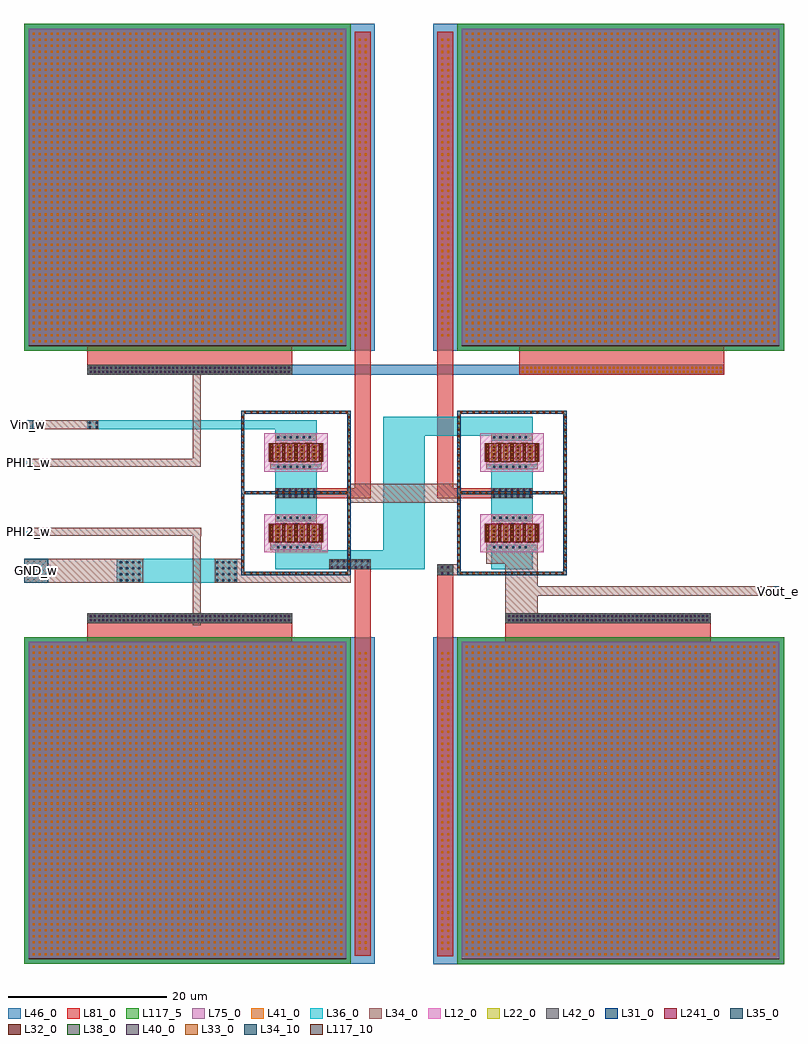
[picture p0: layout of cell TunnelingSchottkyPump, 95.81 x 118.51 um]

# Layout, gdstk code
import gdstk
lib = gdstk.Library(unit=1e-6, precision=1e-09)
def R(c, l, rs):  # rectangles x0, y0, x1, y1
    for r in rs: c.add(gdstk.rectangle(r[:2], r[2:], *l))
def A(c, l, x, y, w, h, nx, ny, dx, dy):  # array of equal rectangles
    R(c, l, [(x+i*dx, y+j*dy, x+i*dx+w, y+j*dy+h) for i in range(nx) for j in range(ny)])
def P(c, l, *ps):  # polygons
    for p in ps: c.add(gdstk.Polygon(p, *l))
L12_0 = (12, 0)
L22_0 = (22, 0)
L31_0 = (31, 0)
L32_0 = (32, 0)
L33_0 = (33, 0)
L34_0 = (34, 0)
L34_10 = (34, 10)
L35_0 = (35, 0)
L36_0 = (36, 0)
L38_0 = (38, 0)
L40_0 = (40, 0)
L41_0 = (41, 0)
L42_0 = (42, 0)
L46_0 = (46, 0)
L75_0 = (75, 0)
L81_0 = (81, 0)
L117_5 = (117, 5)
L117_10 = (117, 10)
L241_0 = (241, 0)

sc_diode = lib.new_cell('sc_diode')
R(sc_diode, L12_0, [(-0.76,-1.4,7.28,3.4)])
A(sc_diode, L22_0, 0, 0, 0.36, 2, 5, 1, 1.54, 0)
A(sc_diode, L22_0, 0.64, 0, 0.62, 2, 4, 1, 1.54, 0)
P(sc_diode, L22_0, [(-3.62,-4.26),(-3.62,5.9),(-3.26,5.9),(-3.26,-3.9),(9.78,-3.9),(9.78,5.9),(-3.62,5.9),(-3.62,6.26),(10.14,6.26),(10.14,-4.26)])
P(sc_diode, L31_0, [(-3.65,-4.29),(-3.65,5.87),(-3.23,5.87),(-3.23,-3.87),(9.75,-3.87),(9.75,5.87),(-3.65,5.87),(-3.65,6.29),(10.17,6.29),(10.17,-4.29)])
A(sc_diode, L32_0, -0.03, -0.03, 0.42, 2.06, 5, 1, 1.54, 0)
A(sc_diode, L33_0, 0.07, 0.185, 0.22, 0.22, 9, 4, 0.77, 0.47)
A(sc_diode, L34_0, 0, -0.23, 0.36, 2.23, 5, 1, 1.54, 0)
A(sc_diode, L34_0, 0.64, 0, 0.62, 2.23, 4, 1, 1.54, 0)
R(sc_diode, L34_0, [(0,-0.46,6.52,-0.23), (0.64,2.23,5.88,2.46)])
R(sc_diode, L241_0, [(-0.16,-0.16,6.68,2.16)])

cap_mim = lib.new_cell('cap_mim')
A(cap_mim, L41_0, 0.49, 0.49, 0.26, 0.26, 52, 52, 0.76, 0.76)
R(cap_mim, L46_0, [(-0.6,-0.6,40.6,40.6)])
R(cap_mim, L75_0, [(0,0,40,40)])
R(cap_mim, L81_0, [(0,0,40,40)])
R(cap_mim, L117_5, [(-0.6,-0.6,40.6,40.6)])
R(cap_mim, L117_10, [(0,0,40,0.1)])

tunnelingschottkypump = lib.new_cell('TunnelingSchottkyPump')
A(tunnelingschottkypump, L33_0, 27.76, 49.12, 0.22, 0.22, 17, 2, 0.8, 20.32)
A(tunnelingschottkypump, L33_0, 54.99, 49.12, 0.22, 0.22, 17, 2, 0.8, 20.32)
A(tunnelingschottkypump, L33_0, 27.47, 49.85, 0.22, 0.22, 1, 12, 0, 0.8)
A(tunnelingschottkypump, L33_0, 40.87, 49.85, 0.22, 0.22, 1, 12, 0, 0.8)
A(tunnelingschottkypump, L33_0, 54.7, 49.85, 0.22, 0.22, 1, 12, 0, 0.8)
A(tunnelingschottkypump, L33_0, 68.1, 49.85, 0.22, 0.22, 1, 12, 0, 0.8)
A(tunnelingschottkypump, L33_0, 27.47, 60.01, 0.22, 0.22, 1, 12, 0, 0.8)
A(tunnelingschottkypump, L33_0, 40.87, 60.01, 0.22, 0.22, 1, 12, 0, 0.8)
A(tunnelingschottkypump, L33_0, 54.7, 60.01, 0.22, 0.22, 1, 12, 0, 0.8)
A(tunnelingschottkypump, L33_0, 68.1, 60.01, 0.22, 0.22, 1, 12, 0, 0.8)
R(tunnelingschottkypump, L33_0, [(27.76,59.28,27.98,59.5), (27.76,59.28,27.98,59.5), (28.56,59.28,28.78,59.5), (28.56,59.28,28.78,59.5), (29.36,59.28,29.58,59.5), (29.36,59.28,29.58,59.5), (30.16,59.28,30.38,59.5), (30.16,59.28,30.38,59.5), (30.96,59.28,31.18,59.5), (30.96,59.28,31.18,59.5), (31.76,59.28,31.98,59.5), (31.76,59.28,31.98,59.5), (32.56,59.28,32.78,59.5), (32.56,59.28,32.78,59.5), (33.36,59.28,33.58,59.5), (33.36,59.28,33.58,59.5), (34.16,59.28,34.38,59.5), (34.16,59.28,34.38,59.5), (34.96,59.28,35.18,59.5), (34.96,59.28,35.18,59.5), (35.76,59.28,35.98,59.5), (35.76,59.28,35.98,59.5), (36.56,59.28,36.78,59.5), (36.56,59.28,36.78,59.5), (37.36,59.28,37.58,59.5), (37.36,59.28,37.58,59.5), (38.16,59.28,38.38,59.5), (38.16,59.28,38.38,59.5), (38.96,59.28,39.18,59.5), (38.96,59.28,39.18,59.5), (39.76,59.28,39.98,59.5), (39.76,59.28,39.98,59.5), (40.56,59.28,40.78,59.5), (40.56,59.28,40.78,59.5), (54.99,59.28,55.21,59.5), (54.99,59.28,55.21,59.5), (55.79,59.28,56.01,59.5), (55.79,59.28,56.01,59.5), (56.59,59.28,56.81,59.5), (56.59,59.28,56.81,59.5), (57.39,59.28,57.61,59.5), (57.39,59.28,57.61,59.5), (58.19,59.28,58.41,59.5), (58.19,59.28,58.41,59.5), (58.99,59.28,59.21,59.5), (58.99,59.28,59.21,59.5), (59.79,59.28,60.01,59.5), (59.79,59.28,60.01,59.5), (60.59,59.28,60.81,59.5), (60.59,59.28,60.81,59.5), (61.39,59.28,61.61,59.5), (61.39,59.28,61.61,59.5), (62.19,59.28,62.41,59.5), (62.19,59.28,62.41,59.5), (62.99,59.28,63.21,59.5), (62.99,59.28,63.21,59.5), (63.79,59.28,64.01,59.5), (63.79,59.28,64.01,59.5), (64.59,59.28,64.81,59.5), (64.59,59.28,64.81,59.5), (65.39,59.28,65.61,59.5), (65.39,59.28,65.61,59.5), (66.19,59.28,66.41,59.5), (66.19,59.28,66.41,59.5), (66.99,59.28,67.21,59.5), (66.99,59.28,67.21,59.5), (67.79,59.28,68.01,59.5), (67.79,59.28,68.01,59.5)])
A(tunnelingschottkypump, L34_0, 60.675, 42.945, 2.47, 1.245, 16, 1, 1.56, 0)
A(tunnelingschottkypump, L34_0, 7.945, 42.965, 2.47, 1.245, 16, 2, 1.56, 31.315)
R(tunnelingschottkypump, L34_0, [(21.26,42.72,22.265,55), (60.675,44.18,64.765,50.43), (64.765,46.42,65.035,47.58), (65.035,46.42,86.405,47.58), (86.405,46.42,95.795,47.58), (0,48.02,15,51.07), (24.01,48.02,27.375,51.07), (27.375,48.02,41.195,48.99), (27.375,48.02,41.195,48.99), (27.375,48.99,41.195,49.41), (27.375,48.99,41.195,49.02), (52.095,48.99,54.595,50.38), (52.095,48.99,55.015,50.38), (54.605,48.99,68.42,49.02), (27.37,49.02,27.79,59.18), (27.37,49.02,41.19,49.44), (40.77,49.02,41.19,59.6), (54.6,49.02,55.02,59.18), (54.6,49.02,68.42,49.44), (68,49.02,68.42,59.6), (27.375,49.41,27.38,51.07), (58.245,50.43,64.765,52.82), (31.02,52.17,37.54,52.85), (58.25,52.17,64.77,52.85), (19.435,54,22.365,55), (31.66,55.77,36.905,56.71), (31.66,55.77,36.905,56.71), (31.66,55.77,36.905,56.71), (31.66,55.77,36.905,56.71), (58.885,55.77,64.13,56.71), (58.885,55.77,64.13,56.71), (58.89,55.77,64.135,56.71), (58.89,55.77,64.135,56.71), (58.89,55.77,64.135,56.71), (58.89,55.77,64.135,56.71), (41.095,58.15,54.695,60.545), (41.095,58.15,54.695,60.545), (27.37,59.18,27.79,69.34), (27.37,59.18,41.19,59.6), (27.37,59.18,41.19,59.6), (40.77,59.18,41.19,69.76), (54.6,59.18,55.02,69.34), (54.6,59.18,68.42,59.6), (54.6,59.18,68.42,59.6), (68,59.18,68.42,69.76), (31.02,62.33,37.54,63.01), (58.25,62.33,64.77,63.01), (19.335,62.7,22.265,63.7), (19.335,63.01,22.265,63.345), (21.26,63.01,22.265,75.29), (31.66,65.93,36.905,66.87), (31.66,65.93,36.905,66.87), (58.885,65.93,64.13,66.87), (58.89,65.93,64.135,66.87), (58.89,65.93,64.135,66.87), (-0.005,67.37,9.385,68.53), (-0.005,67.37,9.385,68.53), (27.37,69.34,41.19,69.76), (54.6,69.34,68.42,69.76)])
R(tunnelingschottkypump, L34_10, [(94.505,46.42,95.795,47.58), (0,48.02,3.04,51.07), (0,54,1.015,55), (0,62.7,1.015,63.7), (-0.005,67.37,1.175,68.53), (-0.005,67.37,1.175,68.53), (-0.005,67.37,1.175,68.53)])
A(tunnelingschottkypump, L35_0, 61.02, 43.165, 0.26, 0.26, 4, 2, 0.52, 0.52)
A(tunnelingschottkypump, L35_0, 62.58, 43.165, 0.26, 0.26, 4, 2, 0.52, 0.52)
A(tunnelingschottkypump, L35_0, 64.14, 43.165, 0.26, 0.26, 4, 2, 0.52, 0.52)
A(tunnelingschottkypump, L35_0, 65.7, 43.165, 0.26, 0.26, 4, 2, 0.52, 0.52)
A(tunnelingschottkypump, L35_0, 67.26, 43.165, 0.26, 0.26, 4, 2, 0.52, 0.52)
A(tunnelingschottkypump, L35_0, 68.82, 43.165, 0.26, 0.26, 4, 2, 0.52, 0.52)
A(tunnelingschottkypump, L35_0, 70.38, 43.165, 0.26, 0.26, 4, 2, 0.52, 0.52)
A(tunnelingschottkypump, L35_0, 71.94, 43.165, 0.26, 0.26, 4, 2, 0.52, 0.52)
A(tunnelingschottkypump, L35_0, 73.5, 43.165, 0.26, 0.26, 4, 2, 0.52, 0.52)
A(tunnelingschottkypump, L35_0, 75.06, 43.165, 0.26, 0.26, 4, 2, 0.52, 0.52)
A(tunnelingschottkypump, L35_0, 76.62, 43.165, 0.26, 0.26, 4, 2, 0.52, 0.52)
A(tunnelingschottkypump, L35_0, 78.18, 43.165, 0.26, 0.26, 4, 2, 0.52, 0.52)
A(tunnelingschottkypump, L35_0, 79.74, 43.165, 0.26, 0.26, 4, 2, 0.52, 0.52)
A(tunnelingschottkypump, L35_0, 81.3, 43.165, 0.26, 0.26, 4, 2, 0.52, 0.52)
A(tunnelingschottkypump, L35_0, 82.86, 43.165, 0.26, 0.26, 4, 2, 0.52, 0.52)
A(tunnelingschottkypump, L35_0, 84.42, 43.165, 0.26, 0.26, 4, 2, 0.52, 0.52)
A(tunnelingschottkypump, L35_0, 8.29, 43.185, 0.26, 0.26, 4, 2, 0.52, 0.52)
A(tunnelingschottkypump, L35_0, 9.85, 43.185, 0.26, 0.26, 4, 2, 0.52, 0.52)
A(tunnelingschottkypump, L35_0, 11.41, 43.185, 0.26, 0.26, 4, 2, 0.52, 0.52)
A(tunnelingschottkypump, L35_0, 12.97, 43.185, 0.26, 0.26, 4, 2, 0.52, 0.52)
A(tunnelingschottkypump, L35_0, 14.53, 43.185, 0.26, 0.26, 4, 2, 0.52, 0.52)
A(tunnelingschottkypump, L35_0, 16.09, 43.185, 0.26, 0.26, 4, 2, 0.52, 0.52)
A(tunnelingschottkypump, L35_0, 17.65, 43.185, 0.26, 0.26, 4, 2, 0.52, 0.52)
A(tunnelingschottkypump, L35_0, 19.21, 43.185, 0.26, 0.26, 4, 2, 0.52, 0.52)
A(tunnelingschottkypump, L35_0, 20.77, 43.185, 0.26, 0.26, 4, 2, 0.52, 0.52)
A(tunnelingschottkypump, L35_0, 22.33, 43.185, 0.26, 0.26, 4, 2, 0.52, 0.52)
A(tunnelingschottkypump, L35_0, 23.89, 43.185, 0.26, 0.26, 4, 2, 0.52, 0.52)
A(tunnelingschottkypump, L35_0, 25.45, 43.185, 0.26, 0.26, 4, 2, 0.52, 0.52)
A(tunnelingschottkypump, L35_0, 27.01, 43.185, 0.26, 0.26, 4, 2, 0.52, 0.52)
A(tunnelingschottkypump, L35_0, 28.57, 43.185, 0.26, 0.26, 4, 2, 0.52, 0.52)
A(tunnelingschottkypump, L35_0, 30.13, 43.185, 0.26, 0.26, 4, 2, 0.52, 0.52)
A(tunnelingschottkypump, L35_0, 31.69, 43.185, 0.26, 0.26, 4, 2, 0.52, 0.52)
A(tunnelingschottkypump, L35_0, 12.09, 48.22, 0.26, 0.26, 4, 4, 0.76, 0.76)
A(tunnelingschottkypump, L35_0, 24.2, 48.23, 0.26, 0.26, 4, 4, 0.76, 0.76)
A(tunnelingschottkypump, L35_0, 31.905, 52.39, 0.26, 0.26, 6, 2, 0.8, 10.16)
A(tunnelingschottkypump, L35_0, 59.135, 52.39, 0.26, 0.26, 6, 2, 0.8, 10.16)
A(tunnelingschottkypump, L35_0, 59.135, 66.28, 0.26, 0.26, 6, 1, 0.8, 0)
A(tunnelingschottkypump, L35_0, 8.29, 74.525, 0.26, 0.26, 4, 2, 0.52, 0.52)
A(tunnelingschottkypump, L35_0, 9.85, 74.525, 0.26, 0.26, 4, 2, 0.52, 0.52)
A(tunnelingschottkypump, L35_0, 11.41, 74.525, 0.26, 0.26, 4, 2, 0.52, 0.52)
A(tunnelingschottkypump, L35_0, 12.97, 74.525, 0.26, 0.26, 4, 2, 0.52, 0.52)
A(tunnelingschottkypump, L35_0, 14.53, 74.525, 0.26, 0.26, 4, 2, 0.52, 0.52)
A(tunnelingschottkypump, L35_0, 16.09, 74.525, 0.26, 0.26, 4, 2, 0.52, 0.52)
A(tunnelingschottkypump, L35_0, 17.65, 74.525, 0.26, 0.26, 4, 2, 0.52, 0.52)
A(tunnelingschottkypump, L35_0, 19.21, 74.525, 0.26, 0.26, 4, 2, 0.52, 0.52)
A(tunnelingschottkypump, L35_0, 20.77, 74.525, 0.26, 0.26, 4, 2, 0.52, 0.52)
A(tunnelingschottkypump, L35_0, 22.33, 74.525, 0.26, 0.26, 4, 2, 0.52, 0.52)
A(tunnelingschottkypump, L35_0, 23.89, 74.525, 0.26, 0.26, 4, 2, 0.52, 0.52)
A(tunnelingschottkypump, L35_0, 25.45, 74.525, 0.26, 0.26, 4, 2, 0.52, 0.52)
A(tunnelingschottkypump, L35_0, 27.01, 74.525, 0.26, 0.26, 4, 2, 0.52, 0.52)
A(tunnelingschottkypump, L35_0, 28.57, 74.525, 0.26, 0.26, 4, 2, 0.52, 0.52)
A(tunnelingschottkypump, L35_0, 30.13, 74.525, 0.26, 0.26, 4, 2, 0.52, 0.52)
A(tunnelingschottkypump, L35_0, 31.69, 74.525, 0.26, 0.26, 4, 2, 0.52, 0.52)
R(tunnelingschottkypump, L35_0, [(61.02,43.685,61.28,43.945), (62.58,43.685,62.84,43.945), (64.14,43.685,64.4,43.945), (65.7,43.685,65.96,43.945), (67.26,43.685,67.52,43.945), (68.82,43.685,69.08,43.945), (70.38,43.685,70.64,43.945), (71.94,43.685,72.2,43.945), (73.5,43.685,73.76,43.945), (75.06,43.685,75.32,43.945), (76.62,43.685,76.88,43.945), (78.18,43.685,78.44,43.945), (79.74,43.685,80,43.945), (81.3,43.685,81.56,43.945), (82.86,43.685,83.12,43.945), (84.42,43.685,84.68,43.945), (8.29,43.705,8.55,43.965), (9.85,43.705,10.11,43.965), (11.41,43.705,11.67,43.965), (12.97,43.705,13.23,43.965), (14.53,43.705,14.79,43.965), (16.09,43.705,16.35,43.965), (17.65,43.705,17.91,43.965), (19.21,43.705,19.47,43.965), (20.77,43.705,21.03,43.965), (22.33,43.705,22.59,43.965), (23.89,43.705,24.15,43.965), (25.45,43.705,25.71,43.965), (27.01,43.705,27.27,43.965), (28.57,43.705,28.83,43.965), (30.13,43.705,30.39,43.965), (31.69,43.705,31.95,43.965), (52.575,49.13,52.835,49.39), (52.575,49.89,52.835,50.15), (53.335,49.89,53.595,50.15), (31.91,56.12,32.17,56.38), (31.91,56.12,32.17,56.38), (32.71,56.12,32.97,56.38), (32.71,56.12,32.97,56.38), (33.51,56.12,33.77,56.38), (33.51,56.12,33.77,56.38), (34.31,56.12,34.57,56.38), (34.31,56.12,34.57,56.38), (35.11,56.12,35.37,56.38), (35.11,56.12,35.37,56.38), (35.91,56.12,36.17,56.38), (35.91,56.12,36.17,56.38), (59.135,56.12,59.395,56.38), (59.135,56.12,59.395,56.38), (59.935,56.12,60.195,56.38), (59.935,56.12,60.195,56.38), (60.735,56.12,60.995,56.38), (60.735,56.12,60.995,56.38), (61.535,56.12,61.795,56.38), (61.535,56.12,61.795,56.38), (62.335,56.12,62.595,56.38), (62.335,56.12,62.595,56.38), (63.135,56.12,63.395,56.38), (63.135,56.12,63.395,56.38), (31.91,66.28,32.17,66.54), (31.91,66.28,32.17,66.54), (32.71,66.28,32.97,66.54), (32.71,66.28,32.97,66.54), (33.51,66.28,33.77,66.54), (33.51,66.28,33.77,66.54), (34.31,66.28,34.57,66.54), (34.31,66.28,34.57,66.54), (35.11,66.28,35.37,66.54), (35.11,66.28,35.37,66.54), (35.91,66.28,36.17,66.54), (35.91,66.28,36.17,66.54), (8.175,67.53,8.435,67.79), (8.175,67.53,8.435,67.79), (9.015,67.53,9.275,67.79), (9.015,67.53,9.275,67.79), (8.175,68.07,8.435,68.33), (8.175,68.07,8.435,68.33), (9.015,68.07,9.275,68.33), (9.015,68.07,9.275,68.33), (8.29,74.525,8.55,74.785), (9.85,74.525,10.11,74.785), (11.41,74.525,11.67,74.785), (12.97,74.525,13.23,74.785), (14.53,74.525,14.79,74.785), (16.09,74.525,16.35,74.785), (17.65,74.525,17.91,74.785), (19.21,74.525,19.47,74.785), (20.77,74.525,21.03,74.785), (22.33,74.525,22.59,74.785), (23.89,74.525,24.15,74.785), (25.45,74.525,25.71,74.785), (27.01,74.525,27.27,74.785), (28.57,74.525,28.83,74.785), (30.13,74.525,30.39,74.785), (31.69,74.525,31.95,74.785)])
A(tunnelingschottkypump, L36_0, 60.675, 42.945, 2.47, 1.245, 16, 1, 1.56, 0)
A(tunnelingschottkypump, L36_0, 7.945, 42.965, 2.47, 1.245, 16, 2, 1.56, 31.315)
R(tunnelingschottkypump, L36_0, [(11.68,48.02,26.9,51.07), (52.095,48.99,54.095,50.38), (31.665,49.73,36.905,52.17), (31.665,49.73,36.905,52.17), (36.905,49.73,45.275,52.17), (36.905,49.73,45.275,52.17), (45.275,49.73,50.515,68.99), (45.275,49.73,50.515,68.99), (58.885,49.73,64.125,52.17), (31.02,52.17,37.54,52.85), (58.25,52.17,64.77,52.85), (31.665,55.77,36.9,56.69), (31.665,55.77,36.9,56.69), (58.89,55.77,64.125,56.69), (58.89,55.77,64.125,56.69), (31.665,56.39,36.905,62.33), (31.665,56.39,36.905,62.33), (58.885,56.39,64.125,62.33), (58.885,56.39,64.125,62.33), (31.02,62.33,37.54,63.01), (58.25,62.33,64.77,63.01), (31.665,65.93,36.9,66.85), (31.665,65.93,36.9,66.85), (58.89,65.93,64.125,66.85), (31.665,66.55,36.905,68.53), (31.665,66.55,36.905,68.53), (50.515,66.55,58.885,68.99), (50.515,66.55,58.885,68.99), (58.885,66.55,64.125,68.99), (58.885,66.55,64.125,68.99), (7.995,67.37,31.665,68.53)])
A(tunnelingschottkypump, L38_0, 61.02, 43.165, 0.26, 0.26, 4, 2, 0.52, 0.52)
A(tunnelingschottkypump, L38_0, 62.58, 43.165, 0.26, 0.26, 4, 2, 0.52, 0.52)
A(tunnelingschottkypump, L38_0, 64.14, 43.165, 0.26, 0.26, 4, 2, 0.52, 0.52)
A(tunnelingschottkypump, L38_0, 65.7, 43.165, 0.26, 0.26, 4, 2, 0.52, 0.52)
A(tunnelingschottkypump, L38_0, 67.26, 43.165, 0.26, 0.26, 4, 2, 0.52, 0.52)
A(tunnelingschottkypump, L38_0, 68.82, 43.165, 0.26, 0.26, 4, 2, 0.52, 0.52)
A(tunnelingschottkypump, L38_0, 70.38, 43.165, 0.26, 0.26, 4, 2, 0.52, 0.52)
A(tunnelingschottkypump, L38_0, 71.94, 43.165, 0.26, 0.26, 4, 2, 0.52, 0.52)
A(tunnelingschottkypump, L38_0, 73.5, 43.165, 0.26, 0.26, 4, 2, 0.52, 0.52)
A(tunnelingschottkypump, L38_0, 75.06, 43.165, 0.26, 0.26, 4, 2, 0.52, 0.52)
A(tunnelingschottkypump, L38_0, 76.62, 43.165, 0.26, 0.26, 4, 2, 0.52, 0.52)
A(tunnelingschottkypump, L38_0, 78.18, 43.165, 0.26, 0.26, 4, 2, 0.52, 0.52)
A(tunnelingschottkypump, L38_0, 79.74, 43.165, 0.26, 0.26, 4, 2, 0.52, 0.52)
A(tunnelingschottkypump, L38_0, 81.3, 43.165, 0.26, 0.26, 4, 2, 0.52, 0.52)
A(tunnelingschottkypump, L38_0, 82.86, 43.165, 0.26, 0.26, 4, 2, 0.52, 0.52)
A(tunnelingschottkypump, L38_0, 84.42, 43.165, 0.26, 0.26, 4, 2, 0.52, 0.52)
A(tunnelingschottkypump, L38_0, 8.29, 43.185, 0.26, 0.26, 4, 2, 0.52, 0.52)
A(tunnelingschottkypump, L38_0, 9.85, 43.185, 0.26, 0.26, 4, 2, 0.52, 0.52)
A(tunnelingschottkypump, L38_0, 11.41, 43.185, 0.26, 0.26, 4, 2, 0.52, 0.52)
A(tunnelingschottkypump, L38_0, 12.97, 43.185, 0.26, 0.26, 4, 2, 0.52, 0.52)
A(tunnelingschottkypump, L38_0, 14.53, 43.185, 0.26, 0.26, 4, 2, 0.52, 0.52)
A(tunnelingschottkypump, L38_0, 16.09, 43.185, 0.26, 0.26, 4, 2, 0.52, 0.52)
A(tunnelingschottkypump, L38_0, 17.65, 43.185, 0.26, 0.26, 4, 2, 0.52, 0.52)
A(tunnelingschottkypump, L38_0, 19.21, 43.185, 0.26, 0.26, 4, 2, 0.52, 0.52)
A(tunnelingschottkypump, L38_0, 20.77, 43.185, 0.26, 0.26, 4, 2, 0.52, 0.52)
A(tunnelingschottkypump, L38_0, 22.33, 43.185, 0.26, 0.26, 4, 2, 0.52, 0.52)
A(tunnelingschottkypump, L38_0, 23.89, 43.185, 0.26, 0.26, 4, 2, 0.52, 0.52)
A(tunnelingschottkypump, L38_0, 25.45, 43.185, 0.26, 0.26, 4, 2, 0.52, 0.52)
A(tunnelingschottkypump, L38_0, 27.01, 43.185, 0.26, 0.26, 4, 2, 0.52, 0.52)
A(tunnelingschottkypump, L38_0, 28.57, 43.185, 0.26, 0.26, 4, 2, 0.52, 0.52)
A(tunnelingschottkypump, L38_0, 30.13, 43.185, 0.26, 0.26, 4, 2, 0.52, 0.52)
A(tunnelingschottkypump, L38_0, 31.69, 43.185, 0.26, 0.26, 4, 2, 0.52, 0.52)
A(tunnelingschottkypump, L38_0, 38.665, 49.85, 0.26, 0.26, 7, 2, 0.76, 0.76)
A(tunnelingschottkypump, L38_0, 31.875, 58.85, 0.26, 0.26, 7, 2, 0.76, 0.76)
A(tunnelingschottkypump, L38_0, 59.095, 58.85, 0.26, 0.26, 7, 2, 0.76, 0.76)
A(tunnelingschottkypump, L38_0, 8.29, 74.525, 0.26, 0.26, 4, 2, 0.52, 0.52)
A(tunnelingschottkypump, L38_0, 9.85, 74.525, 0.26, 0.26, 4, 2, 0.52, 0.52)
A(tunnelingschottkypump, L38_0, 11.41, 74.525, 0.26, 0.26, 4, 2, 0.52, 0.52)
A(tunnelingschottkypump, L38_0, 12.97, 74.525, 0.26, 0.26, 4, 2, 0.52, 0.52)
A(tunnelingschottkypump, L38_0, 14.53, 74.525, 0.26, 0.26, 4, 2, 0.52, 0.52)
A(tunnelingschottkypump, L38_0, 16.09, 74.525, 0.26, 0.26, 4, 2, 0.52, 0.52)
A(tunnelingschottkypump, L38_0, 17.65, 74.525, 0.26, 0.26, 4, 2, 0.52, 0.52)
A(tunnelingschottkypump, L38_0, 19.21, 74.525, 0.26, 0.26, 4, 2, 0.52, 0.52)
A(tunnelingschottkypump, L38_0, 20.77, 74.525, 0.26, 0.26, 4, 2, 0.52, 0.52)
A(tunnelingschottkypump, L38_0, 22.33, 74.525, 0.26, 0.26, 4, 2, 0.52, 0.52)
A(tunnelingschottkypump, L38_0, 23.89, 74.525, 0.26, 0.26, 4, 2, 0.52, 0.52)
A(tunnelingschottkypump, L38_0, 25.45, 74.525, 0.26, 0.26, 4, 2, 0.52, 0.52)
A(tunnelingschottkypump, L38_0, 27.01, 74.525, 0.26, 0.26, 4, 2, 0.52, 0.52)
A(tunnelingschottkypump, L38_0, 28.57, 74.525, 0.26, 0.26, 4, 2, 0.52, 0.52)
A(tunnelingschottkypump, L38_0, 30.13, 74.525, 0.26, 0.26, 4, 2, 0.52, 0.52)
A(tunnelingschottkypump, L38_0, 31.69, 74.525, 0.26, 0.26, 4, 2, 0.52, 0.52)
R(tunnelingschottkypump, L38_0, [(52.575,49.13,52.835,49.39), (53.335,49.13,53.595,49.39), (52.575,49.89,52.835,50.15), (53.335,49.89,53.595,50.15)])
A(tunnelingschottkypump, L40_0, 61.02, 43.165, 0.26, 0.26, 4, 2, 0.52, 0.52)
A(tunnelingschottkypump, L40_0, 62.58, 43.165, 0.26, 0.26, 4, 2, 0.52, 0.52)
A(tunnelingschottkypump, L40_0, 64.14, 43.165, 0.26, 0.26, 4, 2, 0.52, 0.52)
A(tunnelingschottkypump, L40_0, 65.7, 43.165, 0.26, 0.26, 4, 2, 0.52, 0.52)
A(tunnelingschottkypump, L40_0, 67.26, 43.165, 0.26, 0.26, 4, 2, 0.52, 0.52)
A(tunnelingschottkypump, L40_0, 68.82, 43.165, 0.26, 0.26, 4, 2, 0.52, 0.52)
A(tunnelingschottkypump, L40_0, 70.38, 43.165, 0.26, 0.26, 4, 2, 0.52, 0.52)
A(tunnelingschottkypump, L40_0, 71.94, 43.165, 0.26, 0.26, 4, 2, 0.52, 0.52)
A(tunnelingschottkypump, L40_0, 73.5, 43.165, 0.26, 0.26, 4, 2, 0.52, 0.52)
A(tunnelingschottkypump, L40_0, 75.06, 43.165, 0.26, 0.26, 4, 2, 0.52, 0.52)
A(tunnelingschottkypump, L40_0, 76.62, 43.165, 0.26, 0.26, 4, 2, 0.52, 0.52)
A(tunnelingschottkypump, L40_0, 78.18, 43.165, 0.26, 0.26, 4, 2, 0.52, 0.52)
A(tunnelingschottkypump, L40_0, 79.74, 43.165, 0.26, 0.26, 4, 2, 0.52, 0.52)
A(tunnelingschottkypump, L40_0, 81.3, 43.165, 0.26, 0.26, 4, 2, 0.52, 0.52)
A(tunnelingschottkypump, L40_0, 82.86, 43.165, 0.26, 0.26, 4, 2, 0.52, 0.52)
A(tunnelingschottkypump, L40_0, 84.42, 43.165, 0.26, 0.26, 4, 2, 0.52, 0.52)
A(tunnelingschottkypump, L40_0, 8.29, 43.185, 0.26, 0.26, 4, 2, 0.52, 0.52)
A(tunnelingschottkypump, L40_0, 9.85, 43.185, 0.26, 0.26, 4, 2, 0.52, 0.52)
A(tunnelingschottkypump, L40_0, 11.41, 43.185, 0.26, 0.26, 4, 2, 0.52, 0.52)
A(tunnelingschottkypump, L40_0, 12.97, 43.185, 0.26, 0.26, 4, 2, 0.52, 0.52)
A(tunnelingschottkypump, L40_0, 14.53, 43.185, 0.26, 0.26, 4, 2, 0.52, 0.52)
A(tunnelingschottkypump, L40_0, 16.09, 43.185, 0.26, 0.26, 4, 2, 0.52, 0.52)
A(tunnelingschottkypump, L40_0, 17.65, 43.185, 0.26, 0.26, 4, 2, 0.52, 0.52)
A(tunnelingschottkypump, L40_0, 19.21, 43.185, 0.26, 0.26, 4, 2, 0.52, 0.52)
A(tunnelingschottkypump, L40_0, 20.77, 43.185, 0.26, 0.26, 4, 2, 0.52, 0.52)
A(tunnelingschottkypump, L40_0, 22.33, 43.185, 0.26, 0.26, 4, 2, 0.52, 0.52)
A(tunnelingschottkypump, L40_0, 23.89, 43.185, 0.26, 0.26, 4, 2, 0.52, 0.52)
A(tunnelingschottkypump, L40_0, 25.45, 43.185, 0.26, 0.26, 4, 2, 0.52, 0.52)
A(tunnelingschottkypump, L40_0, 27.01, 43.185, 0.26, 0.26, 4, 2, 0.52, 0.52)
A(tunnelingschottkypump, L40_0, 28.57, 43.185, 0.26, 0.26, 4, 2, 0.52, 0.52)
A(tunnelingschottkypump, L40_0, 30.13, 43.185, 0.26, 0.26, 4, 2, 0.52, 0.52)
A(tunnelingschottkypump, L40_0, 31.69, 43.185, 0.26, 0.26, 4, 2, 0.52, 0.52)
A(tunnelingschottkypump, L40_0, 38.665, 49.85, 0.26, 0.26, 7, 2, 0.76, 0.76)
A(tunnelingschottkypump, L40_0, 31.875, 58.85, 0.26, 0.26, 7, 2, 0.76, 0.76)
A(tunnelingschottkypump, L40_0, 59.095, 58.85, 0.26, 0.26, 7, 2, 0.76, 0.76)
A(tunnelingschottkypump, L40_0, 8.29, 74.525, 0.26, 0.26, 4, 2, 0.52, 0.52)
A(tunnelingschottkypump, L40_0, 9.85, 74.525, 0.26, 0.26, 4, 2, 0.52, 0.52)
A(tunnelingschottkypump, L40_0, 11.41, 74.525, 0.26, 0.26, 4, 2, 0.52, 0.52)
A(tunnelingschottkypump, L40_0, 12.97, 74.525, 0.26, 0.26, 4, 2, 0.52, 0.52)
A(tunnelingschottkypump, L40_0, 14.53, 74.525, 0.26, 0.26, 4, 2, 0.52, 0.52)
A(tunnelingschottkypump, L40_0, 16.09, 74.525, 0.26, 0.26, 4, 2, 0.52, 0.52)
A(tunnelingschottkypump, L40_0, 17.65, 74.525, 0.26, 0.26, 4, 2, 0.52, 0.52)
A(tunnelingschottkypump, L40_0, 19.21, 74.525, 0.26, 0.26, 4, 2, 0.52, 0.52)
A(tunnelingschottkypump, L40_0, 20.77, 74.525, 0.26, 0.26, 4, 2, 0.52, 0.52)
A(tunnelingschottkypump, L40_0, 22.33, 74.525, 0.26, 0.26, 4, 2, 0.52, 0.52)
A(tunnelingschottkypump, L40_0, 23.89, 74.525, 0.26, 0.26, 4, 2, 0.52, 0.52)
A(tunnelingschottkypump, L40_0, 25.45, 74.525, 0.26, 0.26, 4, 2, 0.52, 0.52)
A(tunnelingschottkypump, L40_0, 27.01, 74.525, 0.26, 0.26, 4, 2, 0.52, 0.52)
A(tunnelingschottkypump, L40_0, 28.57, 74.525, 0.26, 0.26, 4, 2, 0.52, 0.52)
A(tunnelingschottkypump, L40_0, 30.13, 74.525, 0.26, 0.26, 4, 2, 0.52, 0.52)
A(tunnelingschottkypump, L40_0, 31.69, 74.525, 0.26, 0.26, 4, 2, 0.52, 0.52)
R(tunnelingschottkypump, L40_0, [(52.575,49.13,52.835,49.39), (53.335,49.13,53.595,49.39), (52.575,49.89,52.835,50.15), (53.335,49.89,53.595,50.15)])
A(tunnelingschottkypump, L41_0, 52.59, 1.79, 0.26, 0.26, 1, 50, 0, 0.76)
A(tunnelingschottkypump, L41_0, 53.35, 1.79, 0.26, 0.26, 1, 50, 0, 0.76)
A(tunnelingschottkypump, L41_0, 42.19, 1.81, 0.26, 0.26, 1, 50, 0, 0.76)
A(tunnelingschottkypump, L41_0, 42.95, 1.81, 0.26, 0.26, 1, 50, 0, 0.76)
A(tunnelingschottkypump, L41_0, 61.02, 43.165, 0.26, 0.26, 4, 2, 0.52, 0.52)
A(tunnelingschottkypump, L41_0, 62.58, 43.165, 0.26, 0.26, 4, 2, 0.52, 0.52)
A(tunnelingschottkypump, L41_0, 64.14, 43.165, 0.26, 0.26, 4, 2, 0.52, 0.52)
A(tunnelingschottkypump, L41_0, 65.7, 43.165, 0.26, 0.26, 4, 2, 0.52, 0.52)
A(tunnelingschottkypump, L41_0, 67.26, 43.165, 0.26, 0.26, 4, 2, 0.52, 0.52)
A(tunnelingschottkypump, L41_0, 68.82, 43.165, 0.26, 0.26, 4, 2, 0.52, 0.52)
A(tunnelingschottkypump, L41_0, 70.38, 43.165, 0.26, 0.26, 4, 2, 0.52, 0.52)
A(tunnelingschottkypump, L41_0, 71.94, 43.165, 0.26, 0.26, 4, 2, 0.52, 0.52)
A(tunnelingschottkypump, L41_0, 73.5, 43.165, 0.26, 0.26, 4, 2, 0.52, 0.52)
A(tunnelingschottkypump, L41_0, 75.06, 43.165, 0.26, 0.26, 4, 2, 0.52, 0.52)
A(tunnelingschottkypump, L41_0, 76.62, 43.165, 0.26, 0.26, 4, 2, 0.52, 0.52)
A(tunnelingschottkypump, L41_0, 78.18, 43.165, 0.26, 0.26, 4, 2, 0.52, 0.52)
A(tunnelingschottkypump, L41_0, 79.74, 43.165, 0.26, 0.26, 4, 2, 0.52, 0.52)
A(tunnelingschottkypump, L41_0, 81.3, 43.165, 0.26, 0.26, 4, 2, 0.52, 0.52)
A(tunnelingschottkypump, L41_0, 82.86, 43.165, 0.26, 0.26, 4, 2, 0.52, 0.52)
A(tunnelingschottkypump, L41_0, 84.42, 43.165, 0.26, 0.26, 4, 2, 0.52, 0.52)
A(tunnelingschottkypump, L41_0, 8.29, 43.185, 0.26, 0.26, 4, 2, 0.52, 0.52)
A(tunnelingschottkypump, L41_0, 9.85, 43.185, 0.26, 0.26, 4, 2, 0.52, 0.52)
A(tunnelingschottkypump, L41_0, 11.41, 43.185, 0.26, 0.26, 4, 2, 0.52, 0.52)
A(tunnelingschottkypump, L41_0, 12.97, 43.185, 0.26, 0.26, 4, 2, 0.52, 0.52)
A(tunnelingschottkypump, L41_0, 14.53, 43.185, 0.26, 0.26, 4, 2, 0.52, 0.52)
A(tunnelingschottkypump, L41_0, 16.09, 43.185, 0.26, 0.26, 4, 2, 0.52, 0.52)
A(tunnelingschottkypump, L41_0, 17.65, 43.185, 0.26, 0.26, 4, 2, 0.52, 0.52)
A(tunnelingschottkypump, L41_0, 19.21, 43.185, 0.26, 0.26, 4, 2, 0.52, 0.52)
A(tunnelingschottkypump, L41_0, 20.77, 43.185, 0.26, 0.26, 4, 2, 0.52, 0.52)
A(tunnelingschottkypump, L41_0, 22.33, 43.185, 0.26, 0.26, 4, 2, 0.52, 0.52)
A(tunnelingschottkypump, L41_0, 23.89, 43.185, 0.26, 0.26, 4, 2, 0.52, 0.52)
A(tunnelingschottkypump, L41_0, 25.45, 43.185, 0.26, 0.26, 4, 2, 0.52, 0.52)
A(tunnelingschottkypump, L41_0, 27.01, 43.185, 0.26, 0.26, 4, 2, 0.52, 0.52)
A(tunnelingschottkypump, L41_0, 28.57, 43.185, 0.26, 0.26, 4, 2, 0.52, 0.52)
A(tunnelingschottkypump, L41_0, 30.13, 43.185, 0.26, 0.26, 4, 2, 0.52, 0.52)
A(tunnelingschottkypump, L41_0, 31.69, 43.185, 0.26, 0.26, 4, 2, 0.52, 0.52)
A(tunnelingschottkypump, L41_0, 38.665, 49.85, 0.26, 0.26, 7, 2, 0.76, 0.76)
A(tunnelingschottkypump, L41_0, 31.875, 58.85, 0.26, 0.26, 7, 2, 0.76, 0.76)
A(tunnelingschottkypump, L41_0, 59.095, 58.85, 0.26, 0.26, 7, 2, 0.76, 0.76)
A(tunnelingschottkypump, L41_0, 8.29, 74.525, 0.26, 0.26, 4, 2, 0.52, 0.52)
A(tunnelingschottkypump, L41_0, 9.85, 74.525, 0.26, 0.26, 4, 2, 0.52, 0.52)
A(tunnelingschottkypump, L41_0, 11.41, 74.525, 0.26, 0.26, 4, 2, 0.52, 0.52)
A(tunnelingschottkypump, L41_0, 12.97, 74.525, 0.26, 0.26, 4, 2, 0.52, 0.52)
A(tunnelingschottkypump, L41_0, 14.53, 74.525, 0.26, 0.26, 4, 2, 0.52, 0.52)
A(tunnelingschottkypump, L41_0, 16.09, 74.525, 0.26, 0.26, 4, 2, 0.52, 0.52)
A(tunnelingschottkypump, L41_0, 17.65, 74.525, 0.26, 0.26, 4, 2, 0.52, 0.52)
A(tunnelingschottkypump, L41_0, 19.21, 74.525, 0.26, 0.26, 4, 2, 0.52, 0.52)
A(tunnelingschottkypump, L41_0, 20.77, 74.525, 0.26, 0.26, 4, 2, 0.52, 0.52)
A(tunnelingschottkypump, L41_0, 22.33, 74.525, 0.26, 0.26, 4, 2, 0.52, 0.52)
A(tunnelingschottkypump, L41_0, 23.89, 74.525, 0.26, 0.26, 4, 2, 0.52, 0.52)
A(tunnelingschottkypump, L41_0, 25.45, 74.525, 0.26, 0.26, 4, 2, 0.52, 0.52)
A(tunnelingschottkypump, L41_0, 27.01, 74.525, 0.26, 0.26, 4, 2, 0.52, 0.52)
A(tunnelingschottkypump, L41_0, 28.57, 74.525, 0.26, 0.26, 4, 2, 0.52, 0.52)
A(tunnelingschottkypump, L41_0, 30.13, 74.525, 0.26, 0.26, 4, 2, 0.52, 0.52)
A(tunnelingschottkypump, L41_0, 31.69, 74.525, 0.26, 0.26, 4, 2, 0.52, 0.52)
A(tunnelingschottkypump, L41_0, 62.76, 74.525, 0.26, 0.26, 4, 2, 0.52, 0.52)
A(tunnelingschottkypump, L41_0, 64.32, 74.525, 0.26, 0.26, 4, 2, 0.52, 0.52)
A(tunnelingschottkypump, L41_0, 65.88, 74.525, 0.26, 0.26, 4, 2, 0.52, 0.52)
A(tunnelingschottkypump, L41_0, 67.44, 74.525, 0.26, 0.26, 4, 2, 0.52, 0.52)
A(tunnelingschottkypump, L41_0, 69, 74.525, 0.26, 0.26, 4, 2, 0.52, 0.52)
A(tunnelingschottkypump, L41_0, 70.56, 74.525, 0.26, 0.26, 4, 2, 0.52, 0.52)
A(tunnelingschottkypump, L41_0, 72.12, 74.525, 0.26, 0.26, 4, 2, 0.52, 0.52)
A(tunnelingschottkypump, L41_0, 73.68, 74.525, 0.26, 0.26, 4, 2, 0.52, 0.52)
A(tunnelingschottkypump, L41_0, 75.24, 74.525, 0.26, 0.26, 4, 2, 0.52, 0.52)
A(tunnelingschottkypump, L41_0, 76.8, 74.525, 0.26, 0.26, 4, 2, 0.52, 0.52)
A(tunnelingschottkypump, L41_0, 78.36, 74.525, 0.26, 0.26, 4, 2, 0.52, 0.52)
A(tunnelingschottkypump, L41_0, 79.92, 74.525, 0.26, 0.26, 4, 2, 0.52, 0.52)
A(tunnelingschottkypump, L41_0, 81.48, 74.525, 0.26, 0.26, 4, 2, 0.52, 0.52)
A(tunnelingschottkypump, L41_0, 83.04, 74.525, 0.26, 0.26, 4, 2, 0.52, 0.52)
A(tunnelingschottkypump, L41_0, 84.6, 74.525, 0.26, 0.26, 4, 2, 0.52, 0.52)
A(tunnelingschottkypump, L41_0, 86.16, 74.525, 0.26, 0.26, 4, 2, 0.52, 0.52)
A(tunnelingschottkypump, L41_0, 42.19, 79.1, 0.26, 0.26, 1, 50, 0, 0.76)
A(tunnelingschottkypump, L41_0, 42.95, 79.1, 0.26, 0.26, 1, 50, 0, 0.76)
A(tunnelingschottkypump, L41_0, 52.59, 79.1, 0.26, 0.26, 1, 50, 0, 0.76)
A(tunnelingschottkypump, L41_0, 53.35, 79.1, 0.26, 0.26, 1, 50, 0, 0.76)
R(tunnelingschottkypump, L41_0, [(52.575,49.13,52.835,49.39), (53.335,49.13,53.595,49.39), (52.575,49.89,52.835,50.15), (53.335,49.89,53.595,50.15)])
A(tunnelingschottkypump, L42_0, 60.675, 42.945, 2.47, 1.245, 16, 1, 1.56, 0)
A(tunnelingschottkypump, L42_0, 7.945, 42.965, 2.47, 1.245, 16, 2, 1.56, 31.315)
R(tunnelingschottkypump, L42_0, [(52.095,48.99,54.095,50.38), (38.455,49.73,43.695,50.99), (31.665,58.73,36.905,59.99), (58.885,58.73,64.125,59.99)])
A(tunnelingschottkypump, L46_0, 60.675, 42.945, 2.47, 1.245, 16, 1, 1.56, 0)
A(tunnelingschottkypump, L46_0, 7.945, 42.965, 2.47, 1.245, 16, 2, 1.56, 31.315)
A(tunnelingschottkypump, L46_0, 62.415, 74.28, 2.47, 1.245, 16, 1, 1.56, 0)
R(tunnelingschottkypump, L46_0, [(51.6,-0.02,54.6,41.18), (41.2,0,44.2,41.2), (52.095,48.99,54.095,50.38), (38.455,49.73,43.695,50.99), (31.665,58.73,36.905,59.99), (58.885,58.73,64.125,59.99), (33.815,74.28,62.415,75.525), (41.2,77.29,44.2,118.49), (51.6,77.29,54.6,118.49)])
A(tunnelingschottkypump, L81_0, 60.675, 42.945, 2.47, 1.245, 16, 1, 1.56, 0)
A(tunnelingschottkypump, L81_0, 7.945, 42.965, 2.47, 1.245, 16, 2, 1.56, 31.315)
A(tunnelingschottkypump, L81_0, 62.415, 74.28, 2.47, 1.245, 16, 1, 1.56, 0)
R(tunnelingschottkypump, L81_0, [(52.1,0.98,54.1,40.18), (41.7,1,43.7,40.2), (60.675,40.58,86.545,42.945), (7.945,40.6,33.815,42.965), (52.095,48.99,54.095,50.38), (38.455,49.73,43.695,50.99), (31.665,58.73,36.905,59.99), (36.905,58.73,43.7,59.99), (52.1,58.73,58.885,59.99), (58.885,58.73,64.125,59.99), (7.945,75.525,33.815,77.89), (62.415,75.525,88.285,77.89), (41.7,78.29,43.7,117.49), (52.1,78.29,54.1,117.49)])
tunnelingschottkypump.add(gdstk.FlexPath([(19.435,54.5),(0,54.5)], 1, ends="flush", simple_path=True, layer=34, datatype=0))  # L34_0
tunnelingschottkypump.add(gdstk.FlexPath([(19.335,63.2),(0,63.2)], 1, ends="flush", simple_path=True, layer=34, datatype=0))  # L34_0
tunnelingschottkypump.add(gdstk.FlexPath([(42.7,78.29),(42.7,58.74)], 2, ends="flush", simple_path=True, layer=81, datatype=0))  # L81_0
tunnelingschottkypump.add(gdstk.FlexPath([(42.7,40.2),(42.7,49.74),(42.7,49.74),(42.7,49.74),(42.7,49.74)], 2, ends="flush", simple_path=True, layer=81, datatype=0))  # L81_0
tunnelingschottkypump.add(gdstk.FlexPath([(53.1,78.29),(53.1,58.74)], 2, ends="flush", simple_path=True, layer=81, datatype=0))  # L81_0
tunnelingschottkypump.add(gdstk.FlexPath([(53.1,40.18),(53.1,49)], 2, ends="flush", simple_path=True, layer=81, datatype=0))  # L81_0
tunnelingschottkypump.add(gdstk.Reference(sc_diode, (31.02,63.47)))
tunnelingschottkypump.add(gdstk.Reference(sc_diode, (31.02,53.31)))
tunnelingschottkypump.add(gdstk.Reference(cap_mim, (55.2,77.89)))
tunnelingschottkypump.add(gdstk.Reference(cap_mim, (0.6,77.89)))
tunnelingschottkypump.add(gdstk.Reference(cap_mim, (0.6,0.6)))
tunnelingschottkypump.add(gdstk.Reference(cap_mim, (55.2,0.58)))
tunnelingschottkypump.add(gdstk.Reference(sc_diode, (58.25,63.47)))
tunnelingschottkypump.add(gdstk.Reference(sc_diode, (58.25,53.31)))
tunnelingschottkypump.add(gdstk.Reference(sc_diode, (31.02,53.31)))
tunnelingschottkypump.add(gdstk.Reference(sc_diode, (58.25,63.47)))
tunnelingschottkypump.add(gdstk.Reference(sc_diode, (58.25,53.31)))
tunnelingschottkypump.add(gdstk.Reference(sc_diode, (58.25,53.31)))
tunnelingschottkypump.add(gdstk.Label('PHI2_w', (0.508,54.5), layer=34, texttype=10))
tunnelingschottkypump.add(gdstk.Label('PHI1_w', (0.5,63.18), layer=34, texttype=10))
tunnelingschottkypump.add(gdstk.Label('GND_w', (1.52,49.545), layer=34, texttype=10))
tunnelingschottkypump.add(gdstk.Label('Vin_w', (0.588,67.947), layer=34, texttype=10))
tunnelingschottkypump.add(gdstk.Label('Vin_w', (0.588,67.947), layer=34, texttype=10))
tunnelingschottkypump.add(gdstk.Label('Vin_w', (0.588,67.947), layer=34, texttype=10))
tunnelingschottkypump.add(gdstk.Label('Vout_e', (95.153,46.997), layer=34, texttype=10))

lib.write_gds('TunnelingSchottkyPump.gds')
